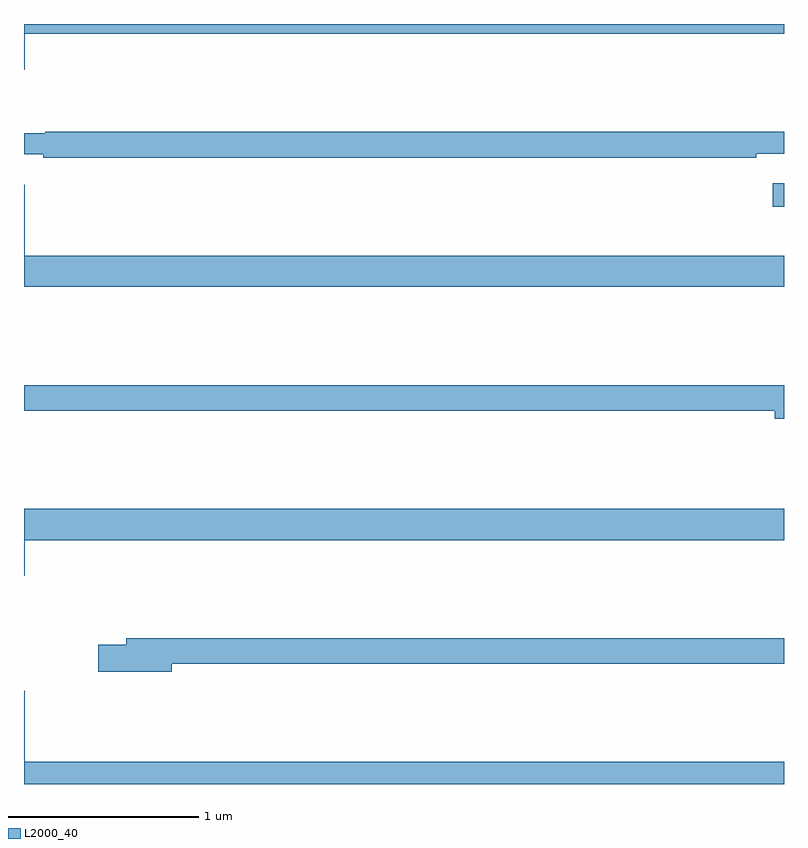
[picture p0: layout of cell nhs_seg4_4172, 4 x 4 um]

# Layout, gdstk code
import gdstk
lib = gdstk.Library(unit=1e-6, precision=1e-09)
def R(c, l, rs):  # rectangles x0, y0, x1, y1
    for r in rs: c.add(gdstk.rectangle(r[:2], r[2:], *l))
def P(c, l, *ps):  # polygons
    for p in ps: c.add(gdstk.Polygon(p, *l))
L2000_40 = (2000, 40)

nhs_seg4_4172 = lib.new_cell('nhs_seg4_4172')
R(nhs_seg4_4172, L2000_40, [(336.942,767.939,337,768.061)])
P(nhs_seg4_4172, L2000_40, [(333.004,768.848),(337,768.848),(337,768.9),(333,768.9),(333,768.66),(333.004,768.66)],
  [(336.854,768.216),(337,768.216),(337,768.332),(333.113,768.332),(333.113,768.325),(333,768.325),(333,768.215),(333.1,768.215),(333.1,768.196),(336.854,768.196)],
  [(337,767.68),(333.004,767.68),(333.004,768.055),(333,768.055),(333,767.516),(337,767.516)],
  [(337,767),(333,767),(333,766.864),(336.95,766.864),(336.95,766.822),(337,766.822)],
  [(333.004,766.184),(337,766.184),(337,766.348),(333,766.348),(333,765.996),(333.004,765.996)],
  [(333.778,765.532),(337,765.532),(337,765.668),(333.539,765.668),(333.539,765.632),(333.39,765.632),(333.39,765.49),(333.778,765.49)],
  [(337,765.016),(333.004,765.016),(333.004,765.391),(333,765.391),(333,764.9),(337,764.9)])

lib.write_gds('nhs_seg4_4172.gds')
